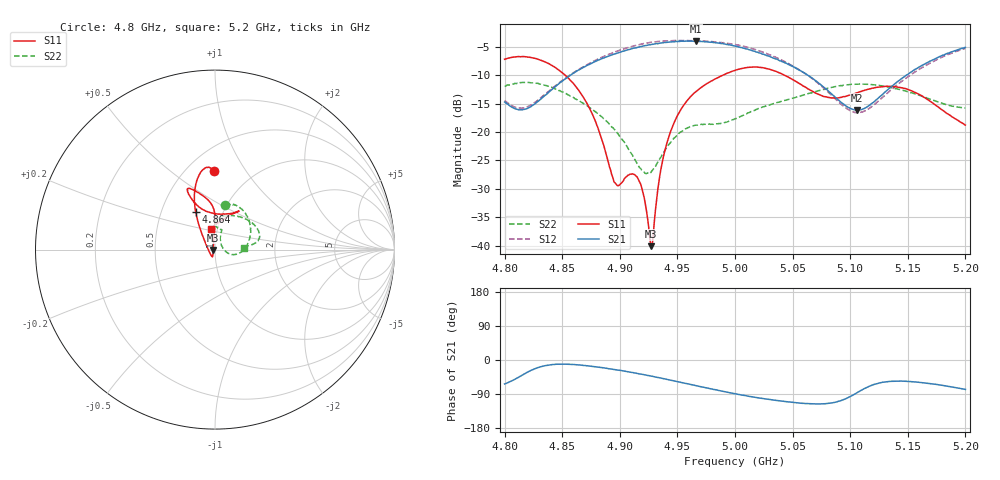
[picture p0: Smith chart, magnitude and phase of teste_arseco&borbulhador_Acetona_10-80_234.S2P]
! Network Analyzer HP8722D
! Hewlett-Packard
! Data name: Linha & Wilkinson
! Saver's name: Rodrigo Anjos
! Comments: Teste da utilização de aquisição
! continua pelo VNA HP8722D
! Time and date: 25/4/2025 17:13
!  Frequency  S11  S21  S12  S22
# HZ  S  MA R 50
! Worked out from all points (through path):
!   401 points, 4.8 GHz to 5.2 GHz, reference 50 ohm
!   highest |S21| = -4.00 dB at 4.966 GHz (marker M1); lowest = -16.1 dB at 5.106 GHz (marker M2)
!   lowest |S11| = -40.1 dB at 4.927 GHz (marker M3), VSWR 1.02, Z = 49 - j0.16 ohm
!   |S11| at or under -10 dB: 4.853 GHz to 4.99 GHz (137.1 MHz wide, 2.79 % of centre); 5.043 GHz to end of sweep
!   |S22| runs from -27.3 to -11.3 dB; largest |S21 - S12| = 1.2
!   S11 on the Smith chart (normalised r, x): 4.8 GHz: 0.67, +0.72; 4.864 GHz: 0.74, +0.33; 5.2 GHz: 0.93, +0.21
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4.8e9  0.4362 91.0  0.1837 -63.2  0.1891 70.1  0.2524 76.8
4.82e9  0.4551 97.3  0.1616 -31.8  0.1671 98.9  0.2725 61.5
4.843e9  0.3748 106.7  0.2455 -11.7  0.2497 119.0  0.2422 36.7
4.864e9  0.2349 117.2  0.3504 -12.8  0.3524 120.9  0.1894 12.0
4.867e9  0.2121 119.0  0.3634 -13.9  0.3677 120.6  0.1822 8.7
4.88e9  0.1153 129.3  0.4223 -18.3  0.4333 118.1  0.1476 -5.0
4.896e9  0.0356 -171.1  0.4871 -25.4  0.5076 113.0  0.1037 -15.8
4.91e9  0.04266 -111.9  0.5385 -32.6  0.5631 107.0  0.0646 -12.2
4.917e9  0.03663 -109.5  0.5604 -36.5  0.5876 103.3  0.04871 1.2
4.927e9  0.009921 -170.5  0.5862 -42.3  0.6145 97.5  0.0442 38.2
4.929e9  0.01239 139.9  0.5909 -43.5  0.6171 96.4  0.04705 45.6
4.934e9  0.03678 102.0  0.6022 -46.8  0.6261 93.2  0.0568 58.0
4.939e9  0.06782 94.9  0.6128 -49.8  0.6329 89.9  0.06858 65.1
4.946e9  0.1134 91.0  0.6218 -54.5  0.6354 85.4  0.08563 69.2
4.966e9  0.2264 91.8  0.631 -67.5  0.634 72.7  0.1151 70.9
5e9  0.3489 109.2  0.5702 -89.1  0.5883 50.8  0.1307 87.8
5.029e9  0.3585 115.2  0.4661 -103.6  0.4828 34.4  0.1716 85.5
5.067e9  0.229 105.7  0.298 -115.7  0.2952 23.7  0.2222 56.6
5.106e9  0.2208 65.5  0.1558 -86.3  0.1478 56.7  0.2631 24.7
5.134e9  0.2516 58.2  0.2415 -56.5  0.2275 88.8  0.2474 12.2
5.168e9  0.1909 70.5  0.4131 -61.8  0.3973 85.1  0.1965 7.0
5.2e9  0.1152 101.4  0.5542 -77.7  0.5439 70.0  0.1627 3.6
